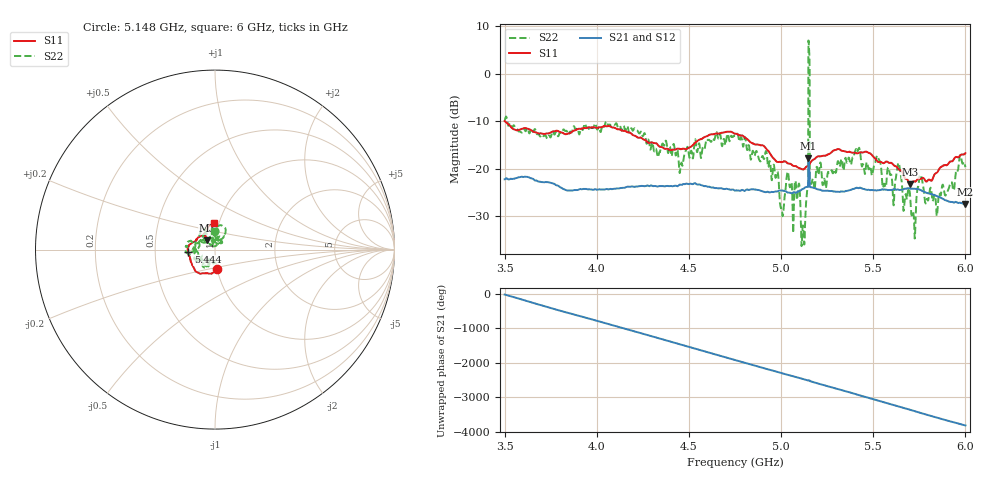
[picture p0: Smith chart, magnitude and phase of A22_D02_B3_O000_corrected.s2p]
! Created with skrf 1.9.0 (http://scikit-rf.org).
# Hz S RI R 50.0
!freq ReS11 ImS11 ReS21 ImS21 ReS12 ImS12 ReS22 ImS22
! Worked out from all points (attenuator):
!   1601 points, 3.5 GHz to 6 GHz, reference 50 ohm
!   highest |S21| = -17.78 dB at 5.148 GHz (marker M1); lowest = -27.4 dB at 6 GHz (marker M2)
!   lowest |S11| = -23.3 dB at 5.702 GHz (marker M3), VSWR 1.15, Z = 45.5 + j4.75 ohm
!   |S11| at or under -10 dB: 3.502 GHz to end of sweep
!   |S22| runs from -36.3 to 7.1 dB; largest |S21 - S12| = 0.00096
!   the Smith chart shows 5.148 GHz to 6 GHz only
!   S11 on the Smith chart (normalised r, x): 5.148 GHz: 1.00, -0.22; 5.444 GHz: 0.74, -0.02; 6 GHz: 0.95, +0.28
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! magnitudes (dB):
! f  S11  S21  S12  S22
! 3.5 GHz  -9.9  -22.2  -22.2  -9.9
! 3.917 GHz  -11.5  -24.3  -24.3  -11.5
! 4.334 GHz  -15.1  -23.7  -23.6  -17.2
! 4.458 GHz  -15.8  -23.3  -23.3  -18.8
! 4.75 GHz  -12.6  -24.5  -24.5  -13.0
! 4.927 GHz  -16.0  -24.8  -24.8  -18.5
! 5.005 GHz  -18.5  -24.5  -24.5  -28.9
! 5.034 GHz  -18.8  -25.0  -24.9  -20.7
! 5.088 GHz  -19.6  -24.9  -24.8  -26.5
! 5.119 GHz  -20.1  -24.2  -24.1  -31.9
! 5.134 GHz  -19.6  -23.8  -23.8  -27.9
! 5.142 GHz  -19.4  -23.8  -23.7  -24.2
! 5.148 GHz  -19.3  -17.8  -17.8  7.1
! 5.161 GHz  -18.5  -23.9  -23.8  -22.9
! 5.167 GHz  -18.2  -23.9  -23.8  -22.8
! 5.444 GHz  -16.5  -24.2  -24.1  -19.0
! 5.584 GHz  -18.7  -24.4  -24.4  -19.9
! 5.702 GHz  -23.3  -24.2  -24.1  -26.6
! 5.719 GHz  -22.6  -24.2  -24.1  -29.6
! 5.755 GHz  -22.1  -24.4  -24.3  -21.2
! 5.841 GHz  -20.9  -25.6  -25.6  -27.5
! 6 GHz  -16.7  -27.4  -27.3  -19.6
